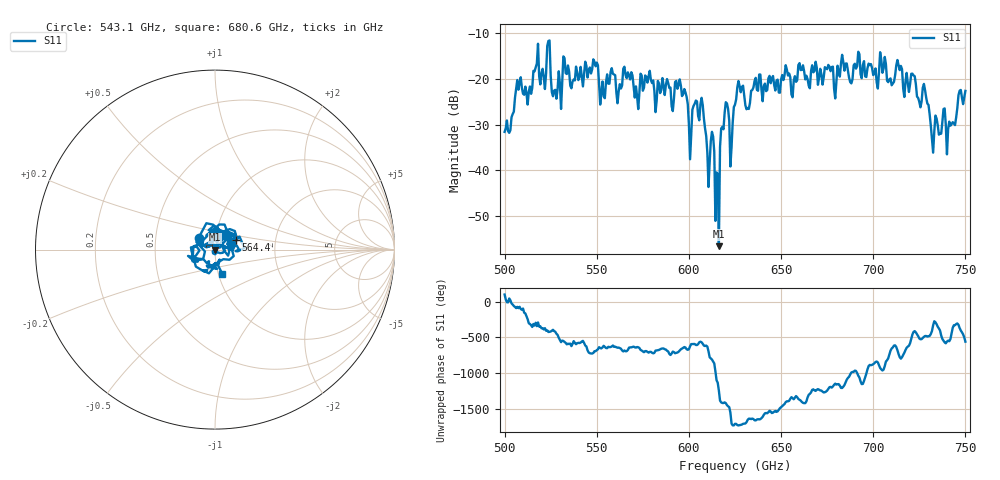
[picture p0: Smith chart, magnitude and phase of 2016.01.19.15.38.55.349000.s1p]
!Created with skrf (http://scikit-rf.org).
# GHz S RI R 50.0
!freq ReS11 ImS11
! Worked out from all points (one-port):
!   401 points, 500 GHz to 750 GHz, reference 50 ohm
!   lowest |S11| = -56.7 dB at 616.2 GHz (marker M1), VSWR 1.00, Z = 49.9 - j0.0437 ohm
!   |S11| at or under -10 dB: start of sweep to end of sweep
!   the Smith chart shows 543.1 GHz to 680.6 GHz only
!   S11 on the Smith chart (normalised r, x): 543.1 GHz: 0.83, +0.11; 564.4 GHz: 1.26, +0.14; 680.6 GHz: 1.04, -0.28
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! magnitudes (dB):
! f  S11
! 500 GHz  -31.6
! 516.9 GHz  -17.5
! 520.6 GHz  -17.8
! 523.8 GHz  -11.7
! 526.9 GHz  -22.5
! 531.2 GHz  -21.0
! 543.1 GHz  -19.0
! 562.5 GHz  -21.2
! 564.4 GHz  -17.8
! 571.9 GHz  -23.8
! 593.8 GHz  -22.2
! 600.6 GHz  -37.6
! 607.5 GHz  -25.7
! 610 GHz  -36.2
! 612.5 GHz  -31.6
! 615 GHz  -40.5
! 616.2 GHz  -56.7
! 619.4 GHz  -27.5
! 623.1 GHz  -35.0
! 625 GHz  -25.6
! 656.2 GHz  -24.0
! 680.6 GHz  -17.1
! 687.5 GHz  -20.7
! 705 GHz  -18.6
! 718.8 GHz  -20.9
! 728.1 GHz  -22.5
! 731.9 GHz  -33.1
! 750 GHz  -22.6
